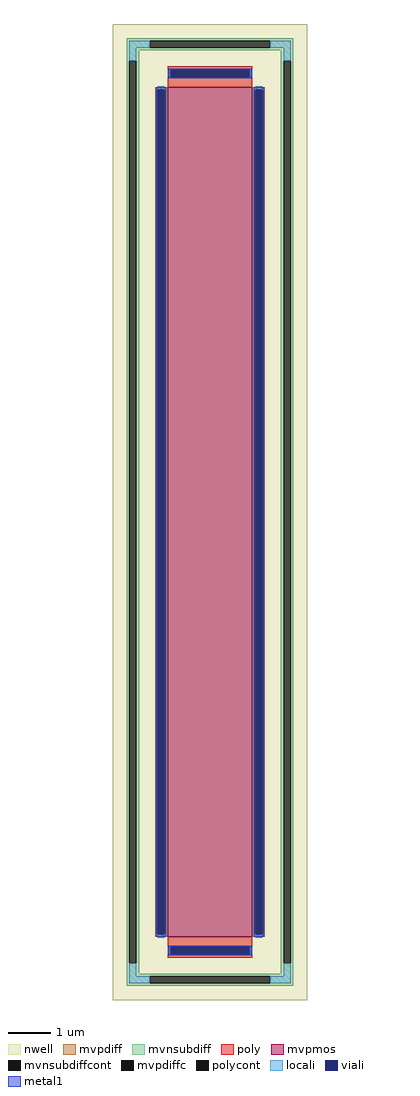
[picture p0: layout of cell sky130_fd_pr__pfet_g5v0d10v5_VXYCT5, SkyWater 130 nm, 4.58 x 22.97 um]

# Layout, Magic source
magic
tech sky130A
magscale 1 2
<< nwell >>
rect -458 -2297 458 2297
<< mvpmos >>
rect -200 -2000 200 2000
<< mvpdiff >>
rect -258 1988 -200 2000
rect -258 -1988 -246 1988
rect -212 -1988 -200 1988
rect -258 -2000 -200 -1988
rect 200 1988 258 2000
rect 200 -1988 212 1988
rect 246 -1988 258 1988
rect 200 -2000 258 -1988
<< mvpdiffc >>
rect -246 -1988 -212 1988
rect 212 -1988 246 1988
<< mvnsubdiff >>
rect -392 2219 392 2231
rect -392 2185 -284 2219
rect 284 2185 392 2219
rect -392 2173 392 2185
rect -392 2123 -334 2173
rect -392 -2123 -380 2123
rect -346 -2123 -334 2123
rect 334 2123 392 2173
rect -392 -2173 -334 -2123
rect 334 -2123 346 2123
rect 380 -2123 392 2123
rect 334 -2173 392 -2123
rect -392 -2185 392 -2173
rect -392 -2219 -284 -2185
rect 284 -2219 392 -2185
rect -392 -2231 392 -2219
<< mvnsubdiffcont >>
rect -284 2185 284 2219
rect -380 -2123 -346 2123
rect 346 -2123 380 2123
rect -284 -2219 284 -2185
<< poly >>
rect -200 2081 200 2097
rect -200 2047 -184 2081
rect 184 2047 200 2081
rect -200 2000 200 2047
rect -200 -2047 200 -2000
rect -200 -2081 -184 -2047
rect 184 -2081 200 -2047
rect -200 -2097 200 -2081
<< polycont >>
rect -184 2047 184 2081
rect -184 -2081 184 -2047
<< locali >>
rect -380 2185 -284 2219
rect 284 2185 380 2219
rect -380 2123 -346 2185
rect 346 2123 380 2185
rect -200 2047 -184 2081
rect 184 2047 200 2081
rect -246 1988 -212 2004
rect -246 -2004 -212 -1988
rect 212 1988 246 2004
rect 212 -2004 246 -1988
rect -200 -2081 -184 -2047
rect 184 -2081 200 -2047
rect -380 -2185 -346 -2123
rect 346 -2185 380 -2123
rect -380 -2219 -284 -2185
rect 284 -2219 380 -2185
<< viali >>
rect -184 2047 184 2081
rect -246 -1988 -212 1988
rect 212 -1988 246 1988
rect -184 -2081 184 -2047
<< metal1 >>
rect -196 2081 196 2087
rect -196 2047 -184 2081
rect 184 2047 196 2081
rect -196 2041 196 2047
rect -252 1988 -206 2000
rect -252 -1988 -246 1988
rect -212 -1988 -206 1988
rect -252 -2000 -206 -1988
rect 206 1988 252 2000
rect 206 -1988 212 1988
rect 246 -1988 252 1988
rect 206 -2000 252 -1988
rect -196 -2047 196 -2041
rect -196 -2081 -184 -2047
rect 184 -2081 196 -2047
rect -196 -2087 196 -2081
<< properties >>
string FIXED_BBOX -363 -2202 363 2202
string gencell sky130_fd_pr__pfet_g5v0d10v5
string library sky130
string parameters w 20.0 l 2.0 m 1 nf 1 diffcov 100 polycov 100 guard 1 glc 1 grc 1 gtc 1 gbc 1 tbcov 100 rlcov 100 topc 1 botc 1 poverlap 0 doverlap 1 lmin 0.50 wmin 0.42 class mosfet compatible {sky130_fd_pr__pfet_01v8  sky130_fd_pr__pfet_01v8_lvt sky130_fd_pr__pfet_01v8_hvt  sky130_fd_pr__pfet_g5v0d10v5} full_metal 1 viasrc 100 viadrn 100 viagate 100 viagb 0 viagr 0 viagl 0 viagt 0
<< end >>
